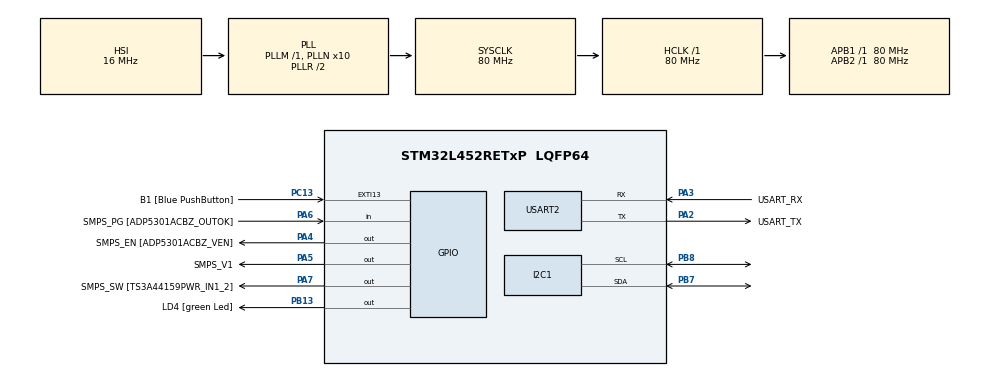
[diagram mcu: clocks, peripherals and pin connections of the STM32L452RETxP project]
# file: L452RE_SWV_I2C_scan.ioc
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I2C1.Timing=0x10909CEC
Mcu.Family=STM32L4
Mcu.Name=STM32L452RETxP
Mcu.Package=LQFP64
NVIC.PriorityGroup=NVIC_PRIORITYGROUP_4
PA13\ (JTMS/SWDIO).GPIO_Label=TMS
PA13\ (JTMS/SWDIO).Mode=Trace_Asynchronous_SW
PA13\ (JTMS/SWDIO).Signal=SYS_JTMS-SWDIO
PA14\ (JTCK/SWCLK).GPIO_Label=TCK
PA14\ (JTCK/SWCLK).Mode=Trace_Asynchronous_SW
PA14\ (JTCK/SWCLK).Signal=SYS_JTCK-SWCLK
PA2.GPIO_Label=USART_TX
PA2.GPIO_Mode=GPIO_MODE_AF_PP
PA2.GPIO_PuPd=GPIO_NOPULL
PA2.GPIO_Speed=GPIO_SPEED_FREQ_VERY_HIGH
PA2.Mode=Asynchronous
PA2.Signal=USART2_TX
PA3.GPIO_Label=USART_RX
PA3.GPIO_Mode=GPIO_MODE_AF_PP
PA3.GPIO_PuPd=GPIO_NOPULL
PA3.GPIO_Speed=GPIO_SPEED_FREQ_VERY_HIGH
PA3.Mode=Asynchronous
PA3.Signal=USART2_RX
PA4.GPIO_Label=SMPS_EN [ADP5301ACBZ_VEN]
PA4.Signal=GPIO_Output
PA5.GPIO_Label=SMPS_V1
PA5.GPIO_ModeDefaultOutputPP=GPIO_MODE_OUTPUT_PP
PA5.GPIO_PuPd=GPIO_NOPULL
PA5.GPIO_Speed=GPIO_SPEED_FREQ_LOW
PA5.Signal=GPIO_Output
PA6.GPIO_Label=SMPS_PG [ADP5301ACBZ_OUTOK]
PA6.GPIO_PuPd=GPIO_PULLUP
PA6.Signal=GPIO_Input
PA7.GPIO_Label=SMPS_SW [TS3A44159PWR_IN1_2]
PA7.Signal=GPIO_Output
PB13.GPIO_Label=LD4 [green Led]
PB13.Signal=GPIO_Output
PB3\ (JTDO/TRACESWO).GPIO_Label=SWO
PB3\ (JTDO/TRACESWO).Mode=Trace_Asynchronous_SW
PB3\ (JTDO/TRACESWO).Signal=SYS_JTDO-SWO
PB7.Mode=I2C
PB7.Signal=I2C1_SDA
PB8.Mode=I2C
PB8.Signal=I2C1_SCL
PC13.GPIO_Label=B1 [Blue PushButton]
PC13.GPIO_ModeDefaultEXTI=GPIO_MODE_IT_FALLING
PC13.GPIO_PuPd=GPIO_NOPULL
PC13.Signal=GPXTI13
PC14-OSC32_IN\ (PC14).Mode=LSE-External-Oscillator
PC14-OSC32_IN\ (PC14).Signal=RCC_OSC32_IN
PC15-OSC32_OUT\ (PC15).Mode=LSE-External-Oscillator
PC15-OSC32_OUT\ (PC15).Signal=RCC_OSC32_OUT
ProjectManager.HeapSize=0x200
ProjectManager.StackSize=0x400
ProjectManager.TargetToolchain=STM32CubeIDE
RCC.ADCFreq_Value=64000000
RCC.AHBFreq_Value=80000000
RCC.APB1Freq_Value=80000000
RCC.APB1TimFreq_Value=80000000
RCC.APB2Freq_Value=80000000
RCC.APB2TimFreq_Value=80000000
RCC.CortexFreq_Value=80000000
RCC.HCLKFreq_Value=80000000
RCC.HSE_VALUE=8000000
RCC.HSI48_VALUE=48000000
RCC.HSI_VALUE=16000000
RCC.MSI_VALUE=4000000
RCC.PLLN=10
RCC.PLLSourceVirtual=RCC_PLLSOURCE_HSI
RCC.PREFETCH_ENABLE=1
RCC.SYSCLKFreq_VALUE=80000000
RCC.SYSCLKSource=RCC_SYSCLKSOURCE_PLLCLK
RCC.USBFreq_Value=64000000
RCC.VCOOutputFreq_Value=160000000
USART2.VirtualMode-Asynchronous=VM_ASYNC
board=NUCLEO-L452RE-P

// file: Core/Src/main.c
/* USER CODE BEGIN Header */
/**
 * Thanks to
 * https://yukblog.net/stm32cubeide-printf-swo/
 * https://blog.mmaakkyyii.com/posts/post22/
  */
/* USER CODE END Header */
#include "main.h"

/* USER CODE BEGIN Includes */
#include <stdio.h>
/* USER CODE END Includes */

I2C_HandleTypeDef hi2c1;

UART_HandleTypeDef huart2;

void SystemClock_Config(void);
static void MX_GPIO_Init(void);
static void MX_USART2_UART_Init(void);
static void MX_I2C1_Init(void);

int main(void)
{

  /* MCU Configuration--------------------------------------------------------*/

  /* Reset of all peripherals, Initializes the Flash interface and the Systick. */
  HAL_Init();

  /* Configure the system clock */
  SystemClock_Config();

  /* Initialize all configured peripherals */
  MX_GPIO_Init();
  MX_USART2_UART_Init();
  MX_I2C1_Init();
  /* USER CODE BEGIN 2 */

  HAL_I2C_Init(&hi2c1);

  printf("I2C scan at SWV debug\n\n");

  /* USER CODE END 2 */

  /* Infinite loop */
  while (1)
  {

    /* USER CODE BEGIN 3 */

	  for (uint8_t d=0; d<128; d++) {
			// ACKの確認
			if (HAL_I2C_IsDeviceReady(&hi2c1, d << 1, 1, 1000) == HAL_OK) {
				// ACKが受信された
				printf("\n\nFound at 0x%2X (STM32) 0x%2X (7bit)\n\n",d<<1,d);
			} else {
				// ACKが受信されなかった
				printf(".");
			}
			HAL_Delay(50);
	  }
	  printf("\n\nFinished. Will again...\n\n");

  }
  /* USER CODE END 3 */
}

void SystemClock_Config(void)
{
  RCC_OscInitTypeDef RCC_OscInitStruct = {0};
  RCC_ClkInitTypeDef RCC_ClkInitStruct = {0};

  /** Configure the main internal regulator output voltage
  */
  if (HAL_PWREx_ControlVoltageScaling(PWR_REGULATOR_VOLTAGE_SCALE1) != HAL_OK)
  {
    Error_Handler();
  }

  /** Initializes the RCC Oscillators according to the specified parameters
  * in the RCC_OscInitTypeDef structure.
  */
  RCC_OscInitStruct.OscillatorType = RCC_OSCILLATORTYPE_HSI;
  RCC_OscInitStruct.HSIState = RCC_HSI_ON;
  RCC_OscInitStruct.HSICalibrationValue = RCC_HSICALIBRATION_DEFAULT;
  RCC_OscInitStruct.PLL.PLLState = RCC_PLL_ON;
  RCC_OscInitStruct.PLL.PLLSource = RCC_PLLSOURCE_HSI;
  RCC_OscInitStruct.PLL.PLLM = 1;
  RCC_OscInitStruct.PLL.PLLN = 10;
  RCC_OscInitStruct.PLL.PLLP = RCC_PLLP_DIV7;
  RCC_OscInitStruct.PLL.PLLQ = RCC_PLLQ_DIV2;
  RCC_OscInitStruct.PLL.PLLR = RCC_PLLR_DIV2;
  if (HAL_RCC_OscConfig(&RCC_OscInitStruct) != HAL_OK)
  {
    Error_Handler();
  }

  /** Initializes the CPU, AHB and APB buses clocks
  */
  RCC_ClkInitStruct.ClockType = RCC_CLOCKTYPE_HCLK|RCC_CLOCKTYPE_SYSCLK
                              |RCC_CLOCKTYPE_PCLK1|RCC_CLOCKTYPE_PCLK2;
  RCC_ClkInitStruct.SYSCLKSource = RCC_SYSCLKSOURCE_PLLCLK;
  RCC_ClkInitStruct.AHBCLKDivider = RCC_SYSCLK_DIV1;
  RCC_ClkInitStruct.APB1CLKDivider = RCC_HCLK_DIV1;
  RCC_ClkInitStruct.APB2CLKDivider = RCC_HCLK_DIV1;

  if (HAL_RCC_ClockConfig(&RCC_ClkInitStruct, FLASH_LATENCY_4) != HAL_OK)
  {
    Error_Handler();
  }
}

static void MX_I2C1_Init(void)
{

  hi2c1.Instance = I2C1;
  hi2c1.Init.Timing = 0x10909CEC;
  hi2c1.Init.OwnAddress1 = 0;
  hi2c1.Init.AddressingMode = I2C_ADDRESSINGMODE_7BIT;
  hi2c1.Init.DualAddressMode = I2C_DUALADDRESS_DISABLE;
  hi2c1.Init.OwnAddress2 = 0;
  hi2c1.Init.OwnAddress2Masks = I2C_OA2_NOMASK;
  hi2c1.Init.GeneralCallMode = I2C_GENERALCALL_DISABLE;
  hi2c1.Init.NoStretchMode = I2C_NOSTRETCH_DISABLE;
  if (HAL_I2C_Init(&hi2c1) != HAL_OK)
  {
    Error_Handler();
  }

  /** Configure Analogue filter
  */
  if (HAL_I2CEx_ConfigAnalogFilter(&hi2c1, I2C_ANALOGFILTER_ENABLE) != HAL_OK)
  {
    Error_Handler();
  }

  /** Configure Digital filter
  */
  if (HAL_I2CEx_ConfigDigitalFilter(&hi2c1, 0) != HAL_OK)
  {
    Error_Handler();
  }

}

static void MX_USART2_UART_Init(void)
{

  huart2.Instance = USART2;
  huart2.Init.BaudRate = 115200;
  huart2.Init.WordLength = UART_WORDLENGTH_8B;
  huart2.Init.StopBits = UART_STOPBITS_1;
  huart2.Init.Parity = UART_PARITY_NONE;
  huart2.Init.Mode = UART_MODE_TX_RX;
  huart2.Init.HwFlowCtl = UART_HWCONTROL_NONE;
  huart2.Init.OverSampling = UART_OVERSAMPLING_16;
  huart2.Init.OneBitSampling = UART_ONE_BIT_SAMPLE_DISABLE;
  huart2.AdvancedInit.AdvFeatureInit = UART_ADVFEATURE_NO_INIT;
  if (HAL_UART_Init(&huart2) != HAL_OK)
  {
    Error_Handler();
  }

}

static void MX_GPIO_Init(void)
{
  GPIO_InitTypeDef GPIO_InitStruct = {0};

  /* GPIO Ports Clock Enable */
  __HAL_RCC_GPIOC_CLK_ENABLE();
  __HAL_RCC_GPIOA_CLK_ENABLE();
  __HAL_RCC_GPIOB_CLK_ENABLE();

  /*Configure GPIO pin Output Level */
  HAL_GPIO_WritePin(GPIOA, SMPS_EN_Pin|SMPS_V1_Pin|SMPS_SW_Pin, GPIO_PIN_RESET);

  /*Configure GPIO pin Output Level */
  HAL_GPIO_WritePin(LD4_GPIO_Port, LD4_Pin, GPIO_PIN_RESET);

  /*Configure GPIO pin : B1_Pin */
  GPIO_InitStruct.Pin = B1_Pin;
  GPIO_InitStruct.Mode = GPIO_MODE_IT_FALLING;
  GPIO_InitStruct.Pull = GPIO_NOPULL;
  HAL_GPIO_Init(B1_GPIO_Port, &GPIO_InitStruct);

  /*Configure GPIO pins : SMPS_EN_Pin SMPS_V1_Pin SMPS_SW_Pin */
  GPIO_InitStruct.Pin = SMPS_EN_Pin|SMPS_V1_Pin|SMPS_SW_Pin;
  GPIO_InitStruct.Mode = GPIO_MODE_OUTPUT_PP;
  GPIO_InitStruct.Pull = GPIO_NOPULL;
  GPIO_InitStruct.Speed = GPIO_SPEED_FREQ_LOW;
  HAL_GPIO_Init(GPIOA, &GPIO_InitStruct);

  /*Configure GPIO pin : SMPS_PG_Pin */
  GPIO_InitStruct.Pin = SMPS_PG_Pin;
  GPIO_InitStruct.Mode = GPIO_MODE_INPUT;
  GPIO_InitStruct.Pull = GPIO_PULLUP;
  HAL_GPIO_Init(SMPS_PG_GPIO_Port, &GPIO_InitStruct);

  /*Configure GPIO pin : LD4_Pin */
  GPIO_InitStruct.Pin = LD4_Pin;
  GPIO_InitStruct.Mode = GPIO_MODE_OUTPUT_PP;
  GPIO_InitStruct.Pull = GPIO_NOPULL;
  GPIO_InitStruct.Speed = GPIO_SPEED_FREQ_LOW;
  HAL_GPIO_Init(LD4_GPIO_Port, &GPIO_InitStruct);

}

/* USER CODE BEGIN 4 */
int _write(int file, char *ptr, int len)
{
  int DataIdx;
  for(DataIdx=0; DataIdx<len; DataIdx++)
  {
    ITM_SendChar(*ptr++);
  }
  return len;
}
/* USER CODE END 4 */

void Error_Handler(void)
{
  __disable_irq();
  while (1)
  {
  }
}
